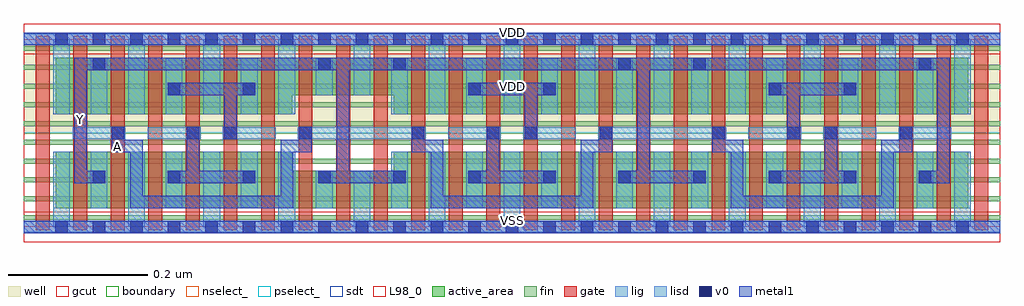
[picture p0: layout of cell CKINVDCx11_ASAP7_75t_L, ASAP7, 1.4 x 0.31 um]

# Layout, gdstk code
import gdstk
lib = gdstk.Library(unit=1e-6, precision=2.5e-10)
def R(c, l, rs):  # rectangles x0, y0, x1, y1
    for r in rs: c.add(gdstk.rectangle(r[:2], r[2:], *l))
def A(c, l, x, y, w, h, nx, ny, dx, dy):  # array of equal rectangles
    R(c, l, [(x+i*dx, y+j*dy, x+i*dx+w, y+j*dy+h) for i in range(nx) for j in range(ny)])
def P(c, l, *ps):  # polygons
    for p in ps: c.add(gdstk.Polygon(p, *l))
well = (1, 0)
fin = (2, 0)
gate = (7, 0)
gcut = (10, 0)
active_area = (11, 0)
nselect_ = (12, 0)
pselect_ = (13, 0)
lig = (16, 0)
lisd = (17, 0)
v0 = (18, 0)
metal1 = (19, 0)
sdt = (88, 0)
L98_0 = (98, 0)
boundary = (100, 0)

ckinvdcx11_asap7_75t_l = lib.new_cell('CKINVDCx11_ASAP7_75t_L')
R(ckinvdcx11_asap7_75t_l, well, [(0,0.135,1.404,0.27)])
A(ckinvdcx11_asap7_75t_l, fin, 0, 0.01, 1.404, 0.007, 1, 10, 0, 0.027)
A(ckinvdcx11_asap7_75t_l, gate, 0.017, -0.005, 0.02, 0.28, 26, 1, 0.054, 0)
R(ckinvdcx11_asap7_75t_l, gcut, [(0,-0.022,1.404,0.022), (0,0.248,1.404,0.292)])
P(ckinvdcx11_asap7_75t_l, active_area, [(0.532,0.081),(0.386,0.081),(0.386,0.108),(0.046,0.108),(0.046,0.027),(1.358,0.027),(1.358,0.108),(0.532,0.108)],
  [(1.358,0.243),(0.046,0.243),(0.046,0.162),(0.386,0.162),(0.386,0.189),(0.532,0.189),(0.532,0.162),(1.358,0.162)])
R(ckinvdcx11_asap7_75t_l, nselect_, [(0,0,1.404,0.135)])
R(ckinvdcx11_asap7_75t_l, pselect_, [(0,0.135,1.404,0.27)])
A(ckinvdcx11_asap7_75t_l, lig, 0.07, 0.127, 0.076, 0.016, 3, 1, 0.108, 0)
A(ckinvdcx11_asap7_75t_l, lig, 1.042, 0.127, 0.076, 0.016, 3, 1, 0.108, 0)
R(ckinvdcx11_asap7_75t_l, lig, [(0,-0.008,1.404,0.008), (0.124,0.126,0.146,0.144), (0.232,0.126,0.254,0.144), (0.286,0.126,0.308,0.144), (0.448,0.126,0.47,0.144), (0.664,0.126,0.686,0.144), (0.718,0.126,0.74,0.144), (0.826,0.126,0.848,0.144), (1.096,0.126,1.118,0.144), (1.15,0.126,1.172,0.144), (1.258,0.126,1.28,0.144), (0.394,0.127,0.578,0.143), (0.61,0.127,0.686,0.143), (0.718,0.127,0.794,0.143), (0.826,0.127,1.01,0.143), (0,0.262,1.404,0.278)])
A(ckinvdcx11_asap7_75t_l, lisd, 0.096, 0.027, 0.024, 0.081, 3, 2, 0.108, 0.135)
A(ckinvdcx11_asap7_75t_l, lisd, 0.528, 0.027, 0.024, 0.081, 8, 2, 0.108, 0.135)
R(ckinvdcx11_asap7_75t_l, lisd, [(0.042,0,0.066,0.108), (0.042,0,0.066,0.108), (0.15,0,0.174,0.108), (0.15,0,0.174,0.108), (0.258,0,0.282,0.108), (0.258,0,0.282,0.108), (0.366,0,0.39,0.108), (0.366,0,0.39,0.108), (0.474,0,0.498,0.081), (0.474,0,0.498,0.081), (0.582,0,0.606,0.108), (0.582,0,0.606,0.108), (0.69,0,0.714,0.108), (0.69,0,0.714,0.108), (0.798,0,0.822,0.108), (0.798,0,0.822,0.108), (0.906,0,0.93,0.108), (0.906,0,0.93,0.108), (1.014,0,1.038,0.108), (1.014,0,1.038,0.108), (1.122,0,1.146,0.108), (1.122,0,1.146,0.108), (1.23,0,1.254,0.108), (1.23,0,1.254,0.108), (1.338,0,1.362,0.108), (1.338,0,1.362,0.108), (0.42,0.027,0.444,0.081), (0.042,0.162,0.066,0.27), (0.042,0.162,0.066,0.27), (0.15,0.162,0.174,0.27), (0.15,0.162,0.174,0.27), (0.258,0.162,0.282,0.27), (0.258,0.162,0.282,0.27), (0.366,0.162,0.39,0.27), (0.366,0.162,0.39,0.27), (0.582,0.162,0.606,0.27), (0.582,0.162,0.606,0.27), (0.69,0.162,0.714,0.27), (0.69,0.162,0.714,0.27), (0.798,0.162,0.822,0.27), (0.798,0.162,0.822,0.27), (0.906,0.162,0.93,0.27), (0.906,0.162,0.93,0.27), (1.014,0.162,1.038,0.27), (1.014,0.162,1.038,0.27), (1.122,0.162,1.146,0.27), (1.122,0.162,1.146,0.27), (1.23,0.162,1.254,0.27), (1.23,0.162,1.254,0.27), (1.338,0.162,1.362,0.27), (1.338,0.162,1.362,0.27), (0.42,0.189,0.444,0.243), (0.474,0.189,0.498,0.27), (0.474,0.189,0.498,0.27)])
A(ckinvdcx11_asap7_75t_l, v0, 0.045, -0.009, 0.018, 0.018, 25, 2, 0.054, 0.27)
A(ckinvdcx11_asap7_75t_l, v0, 0.099, 0.063, 0.018, 0.018, 12, 1, 0.108, 0)
R(ckinvdcx11_asap7_75t_l, v0, [(0.126,0.126,0.144,0.144), (0.234,0.126,0.252,0.144), (0.288,0.126,0.306,0.144), (0.396,0.126,0.414,0.144), (0.558,0.126,0.576,0.144), (0.666,0.126,0.684,0.144), (0.72,0.126,0.738,0.144), (0.828,0.126,0.846,0.144), (0.99,0.126,1.008,0.144), (1.098,0.126,1.116,0.144), (1.152,0.126,1.17,0.144), (1.26,0.126,1.278,0.144), (0.207,0.189,0.225,0.207), (0.315,0.189,0.333,0.207), (0.639,0.189,0.657,0.207), (0.747,0.189,0.765,0.207), (1.071,0.189,1.089,0.207), (1.179,0.189,1.197,0.207), (0.099,0.225,0.117,0.243), (0.423,0.225,0.441,0.243), (0.531,0.225,0.549,0.243), (0.855,0.225,0.873,0.243), (0.963,0.225,0.981,0.243), (1.287,0.225,1.305,0.243)])
A(ckinvdcx11_asap7_75t_l, metal1, 0.099, 0.063, 0.018, 0.018, 12, 1, 0.108, 0)
R(ckinvdcx11_asap7_75t_l, metal1, [(0,-0.009,1.404,0.009), (0.126,0.126,0.144,0.144), (0.234,0.126,0.252,0.144), (0.288,0.126,0.306,0.144), (0.396,0.126,0.414,0.144), (0.558,0.126,0.576,0.144), (0.666,0.126,0.684,0.144), (0.72,0.126,0.738,0.144), (0.828,0.126,0.846,0.144), (0.99,0.126,1.008,0.144), (1.098,0.126,1.116,0.144), (1.152,0.126,1.17,0.144), (1.26,0.126,1.278,0.144), (0.207,0.189,0.225,0.207), (0.315,0.189,0.333,0.207), (0.639,0.189,0.657,0.207), (0.747,0.189,0.765,0.207), (1.071,0.189,1.089,0.207), (1.179,0.189,1.197,0.207), (0.099,0.225,0.117,0.243), (0.423,0.225,0.441,0.243), (0.531,0.225,0.549,0.243), (0.855,0.225,0.873,0.243), (0.963,0.225,0.981,0.243), (1.287,0.225,1.305,0.243), (0,0.261,1.404,0.279)])
P(ckinvdcx11_asap7_75t_l, metal1, [(1.26,0.144),(1.26,0.125),(1.233,0.125),(1.233,0.045),(1.035,0.045),(1.035,0.125),(1.008,0.125),(1.008,0.144),(0.99,0.144),(0.99,0.107),(1.017,0.107),(1.017,0.027),(1.251,0.027),(1.251,0.107),(1.278,0.107),(1.278,0.144)],
  [(0.819,0.107),(0.846,0.107),(0.846,0.144),(0.828,0.144),(0.828,0.125),(0.801,0.125),(0.801,0.045),(0.603,0.045),(0.603,0.125),(0.576,0.125),(0.576,0.144),(0.558,0.144),(0.558,0.107),(0.585,0.107),(0.585,0.027),(0.819,0.027)],
  [(0.387,0.107),(0.414,0.107),(0.414,0.144),(0.396,0.144),(0.396,0.125),(0.369,0.125),(0.369,0.045),(0.171,0.045),(0.171,0.125),(0.144,0.125),(0.144,0.144),(0.126,0.144),(0.126,0.107),(0.153,0.107),(0.153,0.027),(0.387,0.027)],
  [(1.287,0.081),(1.287,0.063),(1.332,0.063),(1.332,0.243),(0.072,0.243),(0.072,0.063),(0.117,0.063),(0.117,0.081),(0.09,0.081),(0.09,0.225),(0.45,0.225),(0.45,0.081),(0.423,0.081),(0.423,0.063),(0.549,0.063),(0.549,0.081),(0.468,0.081),(0.468,0.225),(0.882,0.225),(0.882,0.081),(0.855,0.081),(0.855,0.063),(0.981,0.063),(0.981,0.081),(0.9,0.081),(0.9,0.225),(1.314,0.225),(1.314,0.081)],
  [(0.252,0.144),(0.234,0.144),(0.234,0.081),(0.207,0.081),(0.207,0.063),(0.333,0.063),(0.333,0.081),(0.252,0.081)],
  [(0.207,0.189),(0.288,0.189),(0.288,0.126),(0.306,0.126),(0.306,0.189),(0.333,0.189),(0.333,0.207),(0.207,0.207)],
  [(0.684,0.144),(0.666,0.144),(0.666,0.081),(0.639,0.081),(0.639,0.063),(0.765,0.063),(0.765,0.081),(0.684,0.081)],
  [(0.639,0.189),(0.72,0.189),(0.72,0.126),(0.738,0.126),(0.738,0.189),(0.765,0.189),(0.765,0.207),(0.639,0.207)],
  [(1.197,0.207),(1.071,0.207),(1.071,0.189),(1.098,0.189),(1.098,0.126),(1.116,0.126),(1.116,0.189),(1.197,0.189)],
  [(1.197,0.081),(1.17,0.081),(1.17,0.144),(1.152,0.144),(1.152,0.081),(1.071,0.081),(1.071,0.063),(1.197,0.063)])
A(ckinvdcx11_asap7_75t_l, sdt, 0.042, 0.027, 0.024, 0.081, 3, 2, 0.054, 0.135)
A(ckinvdcx11_asap7_75t_l, sdt, 0.15, 0.027, 0.024, 0.081, 3, 2, 0.054, 0.135)
A(ckinvdcx11_asap7_75t_l, sdt, 0.258, 0.027, 0.024, 0.081, 3, 2, 0.054, 0.135)
A(ckinvdcx11_asap7_75t_l, sdt, 0.582, 0.027, 0.024, 0.081, 3, 2, 0.054, 0.135)
A(ckinvdcx11_asap7_75t_l, sdt, 0.69, 0.027, 0.024, 0.081, 3, 2, 0.054, 0.135)
A(ckinvdcx11_asap7_75t_l, sdt, 0.798, 0.027, 0.024, 0.081, 3, 2, 0.054, 0.135)
A(ckinvdcx11_asap7_75t_l, sdt, 0.906, 0.027, 0.024, 0.081, 3, 2, 0.054, 0.135)
A(ckinvdcx11_asap7_75t_l, sdt, 1.014, 0.027, 0.024, 0.081, 3, 2, 0.054, 0.135)
A(ckinvdcx11_asap7_75t_l, sdt, 1.122, 0.027, 0.024, 0.081, 3, 2, 0.054, 0.135)
A(ckinvdcx11_asap7_75t_l, sdt, 1.23, 0.027, 0.024, 0.081, 3, 2, 0.054, 0.135)
R(ckinvdcx11_asap7_75t_l, sdt, [(0.042,0.027,0.066,0.108), (0.366,0.027,0.39,0.108), (0.42,0.027,0.444,0.081), (0.474,0.027,0.498,0.081), (0.474,0.027,0.498,0.081), (0.528,0.027,0.552,0.108), (0.582,0.027,0.606,0.108), (1.338,0.027,1.362,0.108), (0.042,0.162,0.066,0.243), (0.366,0.162,0.39,0.243), (0.528,0.162,0.552,0.243), (0.582,0.162,0.606,0.243), (1.338,0.162,1.362,0.243), (0.42,0.189,0.444,0.243), (0.474,0.189,0.498,0.243), (0.474,0.189,0.498,0.243)])
R(ckinvdcx11_asap7_75t_l, L98_0, [(0,0,1.404,0.27)])
R(ckinvdcx11_asap7_75t_l, boundary, [(0,0,1.404,0.27)])
ckinvdcx11_asap7_75t_l.add(gdstk.Label('VDD', (0.702,0.2025), layer=1, texttype=251))
ckinvdcx11_asap7_75t_l.add(gdstk.Label('VSS', (0.702,-0.0675), layer=3, texttype=251))
ckinvdcx11_asap7_75t_l.add(gdstk.Label('VSS', (0.702,0.009), layer=19, texttype=251))
ckinvdcx11_asap7_75t_l.add(gdstk.Label('VDD', (0.702,0.279), layer=19, texttype=251))
ckinvdcx11_asap7_75t_l.add(gdstk.Label('A', (0.135,0.116), layer=19, texttype=251))
ckinvdcx11_asap7_75t_l.add(gdstk.Label('Y', (0.081,0.154), layer=19, texttype=251))

lib.write_gds('CKINVDCx11_ASAP7_75t_L.gds')
